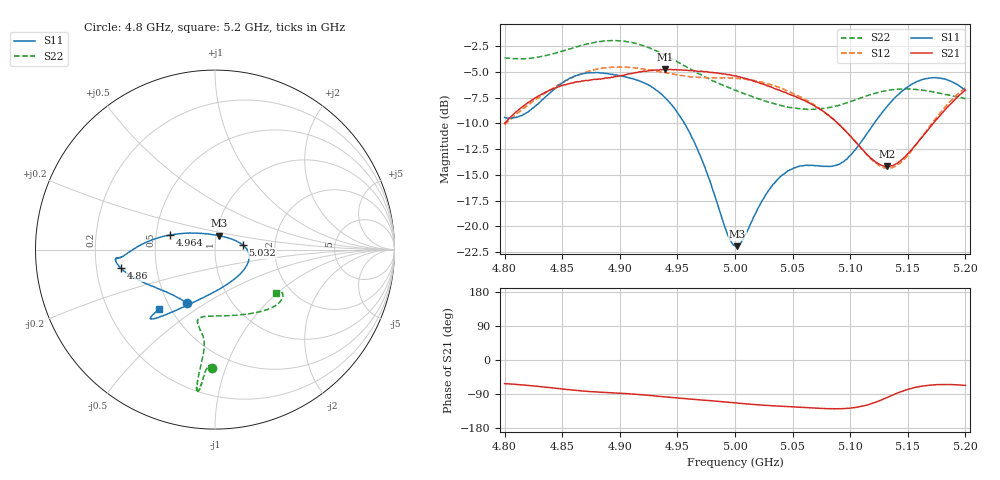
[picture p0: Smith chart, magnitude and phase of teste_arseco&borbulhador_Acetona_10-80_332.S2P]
! Network Analyzer HP8722D
! Hewlett-Packard
! Data name: Linha & Wilkinson
! Saver's name: Rodrigo Anjos
! Comments: Teste da utilização de aquisição
! continua pelo VNA HP8722D
! Time and date: 17/4/2025 17:07
!  Frequency  S11  S21  S12  S22
# HZ  S  MA R 50
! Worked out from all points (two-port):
!   401 points, 4.8 GHz to 5.2 GHz, reference 50 ohm
!   highest |S21| = -4.77 dB at 4.939 GHz (marker M1); lowest = -14.2 dB at 5.132 GHz (marker M2)
!   |S21| within 3 dB of the highest: 4.823 GHz to 5.06 GHz (236.5 MHz wide, 4.79 % of centre); 5.190372 GHz to end of sweep
!   lowest |S11| = -21.9 dB at 5.002 GHz (marker M3), VSWR 1.17, Z = 51.4 + j8.02 ohm
!   |S11| at or under -10 dB: 4.956 GHz to 5.121 GHz (164.9 MHz wide, 3.27 % of centre)
!   |S22| runs from -8.7 to -2.0 dB; largest |S21 - S12| = 0.87
!   S11 on the Smith chart (normalised r, x): 4.8 GHz: 0.62, -0.42; 4.86 GHz: 0.31, -0.09; 4.964 GHz: 0.60, +0.10; 5.032 GHz: 1.36, +0.07; 5.2 GHz: 0.43, -0.36
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4.8e9  0.3374 -117.2  0.3166 -62.3  0.3112 -176.7  0.6585 -91.5
4.819e9  0.356 -137.5  0.393 -66.6  0.382 -176.3  0.6526 -93.2
4.86e9  0.5336 -168.7  0.4973 -79.5  0.5315 -179.8  0.7362 -95.5
4.867e9  0.5497 -171.4  0.5083 -81.6  0.5512 179.0  0.7553 -95.9
4.9e9  0.539 -175.2  0.5379 -87.7  0.5933 172.9  0.7944 -97.2
4.934e9  0.4487 179.2  0.5725 -95.8  0.5651 169.9  0.6994 -97.4
4.939e9  0.423 177.2  0.5776 -97.3  0.5578 169.8  0.6797 -97.2
4.964e9  0.2613 161.8  0.5695 -103.9  0.5319 171.7  0.5684 -96.4
4.977e9  0.1733 148.1  0.5614 -106.9  0.5271 173.1  0.5212 -96.7
4.993e9  0.09299 112.0  0.5454 -111.2  0.5252 174.0  0.4754 -98.7
5e9  0.08055 84.1  0.5366 -113.2  0.524 174.0  0.4574 -100.0
5.002e9  0.08009 75.3  0.5343 -113.8  0.5218 173.9  0.4542 -100.6
5.032e9  0.1566 9.6  0.4722 -120.8  0.4852 172.9  0.396 -103.2
5.048e9  0.1882 -5.3  0.4354 -123.4  0.4483 172.3  0.3768 -98.9
5.067e9  0.1978 -25.8  0.3905 -126.4  0.3948 172.0  0.3699 -88.1
5.096e9  0.2104 -75.9  0.2898 -127.9  0.2911 174.9  0.3958 -65.8
5.12e9  0.3117 -111.2  0.2095 -113.8  0.2074 -168.9  0.439 -50.0
5.132e9  0.3816 -120.7  0.1951 -99.0  0.1919 -152.4  0.4552 -44.1
5.134e9  0.3933 -121.9  0.1953 -96.3  0.1918 -149.4  0.4583 -43.4
5.148e9  0.4671 -128.1  0.2187 -79.3  0.2145 -129.6  0.4646 -38.2
5.168e9  0.5234 -132.5  0.2963 -66.9  0.3006 -113.1  0.4521 -33.5
5.2e9  0.4563 -133.4  0.4583 -67.1  0.471 -109.2  0.4164 -35.0
